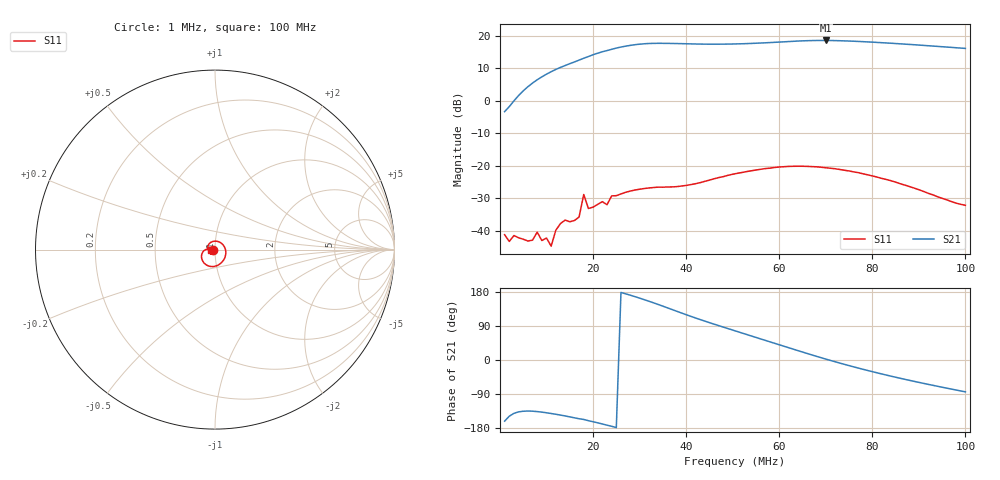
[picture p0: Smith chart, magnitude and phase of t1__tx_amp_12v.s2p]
# HZ S RI R 50
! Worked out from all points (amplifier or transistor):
!   100 points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, 1 MHz to 100 MHz, reference 50 ohm
!   highest |S21| = 18.6 dB at 70 MHz (marker M1)
!   |S21| within 3 dB of that: 23.3 MHz to end of sweep
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1000001  -0.00863 0.000482  -0.6438 -0.217  0 0  0 0
5000001  -0.00735 -0.000413  -1.008 -0.9995  0 0  0 0
1e7  -0.00561 -0.00526  -1.945 -1.674  0 0  0 0
1.7e7  -0.00749 -0.0143  -3.829 -1.784  0 0  0 0
1.8e7  -0.025 -0.0259  -4.149 -1.769  0 0  0 0
2.2e7  -0.0247 -0.013  -5.569 -1.101  0 0  0 0
2.7e7  -0.0389 -0.000502  -6.898 0.6408  0 0  0 0
3.1e7  -0.0387 0.0219  -7.046 2.672  0 0  0 0
3.4e7  -0.025 0.0395  -6.388 4.224  0 0  0 0
3.8e7  0.011 0.0463  -4.734 5.943  0 0  0 0
4.2e7  0.0468 0.0242  -2.676 6.985  0 0  0 0
4.6e7  0.0606 -0.0165  -0.5984 7.399  0 0  0 0
5.1e7  0.0464 -0.0604  1.932 7.256  0 0  0 0
5.5e7  0.024 -0.0823  3.892 6.624  0 0  0 0
5.9e7  -0.00462 -0.0936  5.697 5.523  0 0  0 0
6.4e7  -0.0412 -0.089  7.538 3.491  0 0  0 0
6.7e7  -0.0584 -0.0771  8.21 1.965  0 0  0 0
7e7  -0.0693 -0.0618  8.471 0.3657  0 0  0 0
7.6e7  -0.0744 -0.0301  7.844 -2.562  0 0  0 0
8.4e7  -0.0586 -0.00384  5.655 -5.199  0 0  0 0
9.1e7  -0.0401 0.00283  3.379 -6.264  0 0  0 0
1e8  -0.0241 -0.00422  0.6646 -6.358  0 0  0 0
